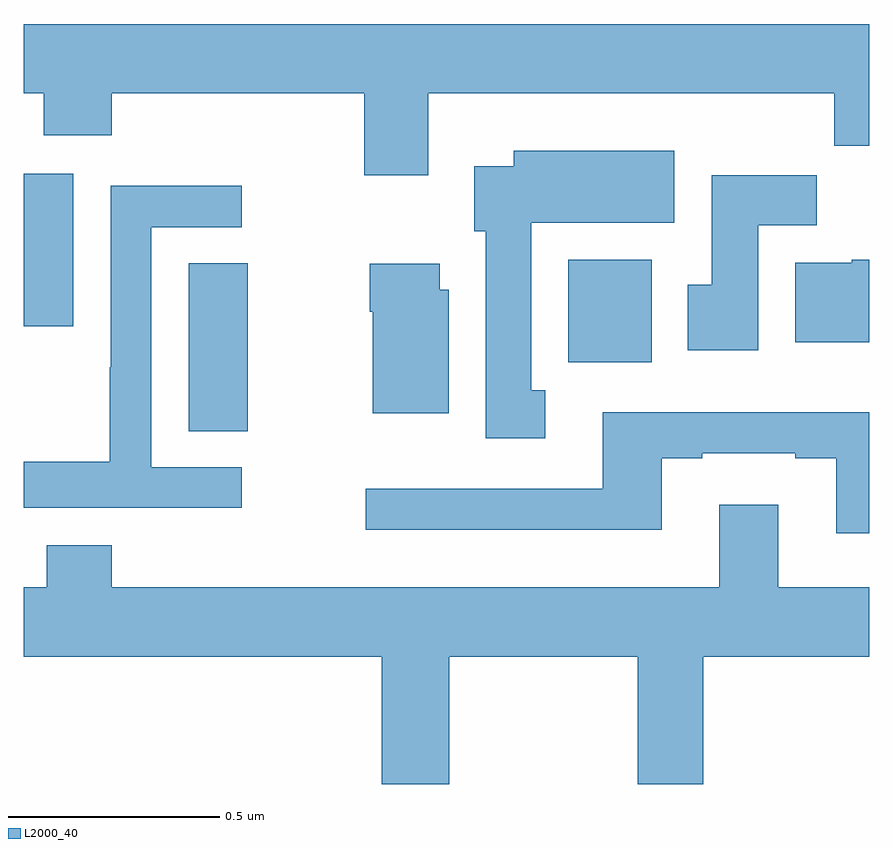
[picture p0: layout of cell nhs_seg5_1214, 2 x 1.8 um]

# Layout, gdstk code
import gdstk
lib = gdstk.Library(unit=1e-6, precision=1e-09)
def R(c, l, rs):  # rectangles x0, y0, x1, y1
    for r in rs: c.add(gdstk.rectangle(r[:2], r[2:], *l))
def P(c, l, *ps):  # polygons
    for p in ps: c.add(gdstk.Polygon(p, *l))
L2000_40 = (2000, 40)

nhs_seg5_1214 = lib.new_cell('nhs_seg5_1214')
R(nhs_seg5_1214, L2000_40, [(127.391,850.633,127.53,851.03), (128.288,850.796,128.485,851.038), (127,850.881,127.117,851.242)])
P(nhs_seg5_1214, L2000_40, [(127.957,851.432),(128.917,851.432),(128.917,851.308),(129,851.308),(129,851.596),(127,851.596),(127,851.432),(127.048,851.432),(127.048,851.333),(127.208,851.333),(127.208,851.432),(127.805,851.432),(127.805,851.238),(127.957,851.238)],
  [(128.233,850.73),(128.2,850.73),(128.2,851.126),(128.539,851.126),(128.539,851.296),(128.159,851.296),(128.159,851.26),(128.066,851.26),(128.066,851.106),(128.093,851.106),(128.093,850.617),(128.233,850.617)],
  [(128.737,851.12),(128.876,851.12),(128.876,851.238),(128.627,851.238),(128.627,850.98),(128.57,850.98),(128.57,850.824),(128.737,850.824)],
  [(127.516,850.548),(127.302,850.548),(127.302,851.115),(127.516,851.115),(127.516,851.214),(127.206,851.214),(127.206,850.784),(127.204,850.784),(127.204,850.561),(127,850.561),(127,850.452),(127.516,850.452)],
  [(129,851.038),(128.958,851.038),(128.958,851.032),(128.825,851.032),(128.825,850.844),(129,850.844)],
  [(128.005,850.968),(127.984,850.968),(127.984,851.029),(127.819,851.029),(127.819,850.916),(127.826,850.916),(127.826,850.676),(128.005,850.676)],
  [(129,850.678),(128.369,850.678),(128.369,850.497),(127.809,850.497),(127.809,850.4),(128.509,850.4),(128.509,850.569),(128.605,850.569),(128.605,850.581),(128.825,850.581),(128.825,850.569),(128.921,850.569),(128.921,850.392),(129,850.392)],
  [(127.055,850.363),(127.055,850.264),(127,850.264),(127,850.1),(127.847,850.1),(127.847,849.799),(128.007,849.799),(128.007,850.1),(128.452,850.1),(128.452,849.799),(128.607,849.799),(128.607,850.1),(129,850.1),(129,850.264),(128.785,850.264),(128.785,850.459),(128.645,850.459),(128.645,850.264),(127.208,850.264),(127.208,850.363)])

lib.write_gds('nhs_seg5_1214.gds')
